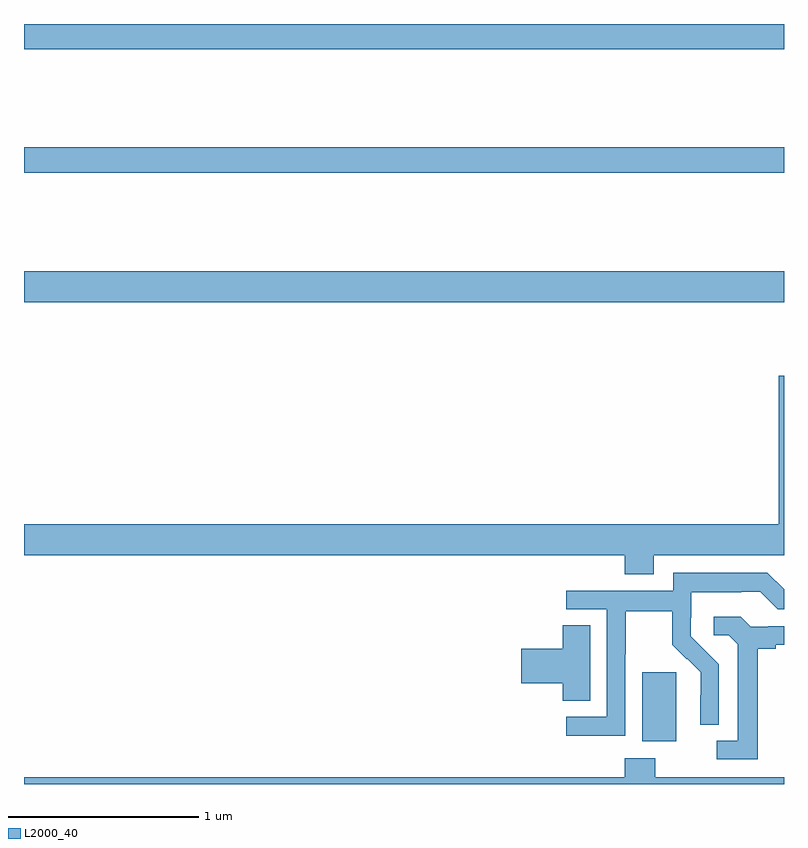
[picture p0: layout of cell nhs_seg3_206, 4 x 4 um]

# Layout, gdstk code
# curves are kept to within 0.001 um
import gdstk
lib = gdstk.Library(unit=1e-6, precision=1e-09)
def R(c, l, rs):  # rectangles x0, y0, x1, y1
    for r in rs: c.add(gdstk.rectangle(r[:2], r[2:], *l))
def P(c, l, *ps):  # polygons
    for p in ps: c.add(gdstk.Polygon(p, *l))
L2000_40 = (2000, 40)

nhs_seg3_206 = lib.new_cell('nhs_seg3_206')
R(nhs_seg3_206, L2000_40, [(124.253,678.626,124.432,678.987), (121,680.936,125,681.1), (121,681.616,125,681.752), (121,682.268,125,682.4)])
P(nhs_seg3_206, L2000_40, [(124.315,679.604),(125,679.604),(125,680.548),(124.973,680.548),(124.973,679.768),(121,679.768),(121,679.604),(124.163,679.604),(124.163,679.505),(124.315,679.505)],
  [(124.164,679.084),(124.167,679.084),(124.167,679.308),(124.411,679.308),(124.411,679.133),(124.488,679.056),(124.491,679.059),(124.562,678.989),(124.562,678.866),(124.56,678.866),(124.56,678.712),(124.656,678.712),(124.656,679.03),(124.51,679.178),(124.51,679.275),(124.512,679.275),(124.512,679.409),(124.775,679.409),(124.775,679.413),(124.875,679.413),(124.968,679.32),(125,679.32),(125,679.426),(124.913,679.513),(124.416,679.513),(124.416,679.416),(123.855,679.416),(123.855,679.32),(124.068,679.32),(124.068,678.753),(123.855,678.753),(123.855,678.655),(124.164,678.655)],
  [(124.861,679.112),(124.957,679.112),(124.957,679.134),(125,679.134),(125,679.23),(124.918,679.23),(124.918,679.227),(124.824,679.227),(124.772,679.279),(124.629,679.279),(124.629,679.182),(124.71,679.182),(124.757,679.135),(124.757,678.627),(124.647,678.627),(124.647,678.531),(124.861,678.531)],
  [(123.979,679.235),(123.836,679.235),(123.836,679.112),(123.618,679.112),(123.618,678.929),(123.836,678.929),(123.836,678.838),(123.979,678.838)],
  [(125,678.436),(124.323,678.436),(124.323,678.535),(124.163,678.535),(124.163,678.436),(121,678.436),(121,678.4),(125,678.4)])

lib.write_gds('nhs_seg3_206.gds')
